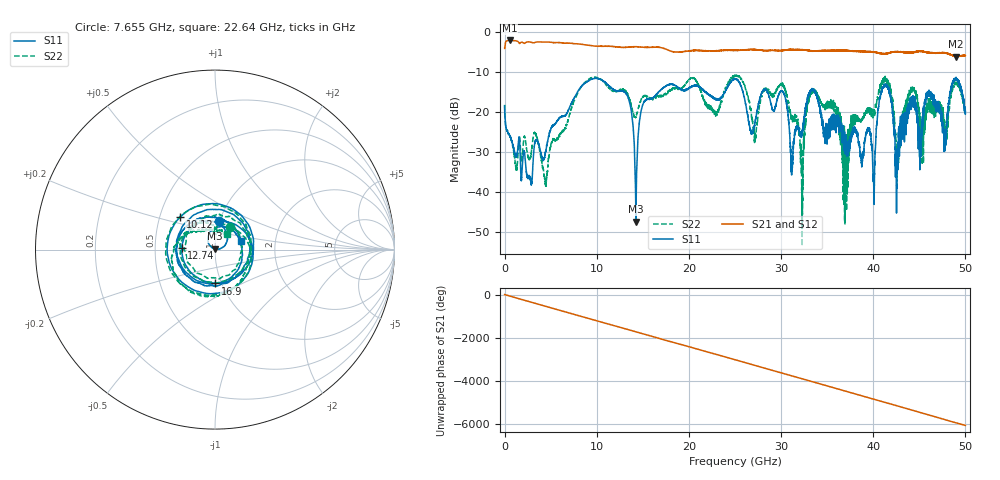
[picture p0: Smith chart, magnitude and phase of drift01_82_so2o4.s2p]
!Created with skrf (http://scikit-rf.org).
# Hz S RI R 50.0
!freq ReS11 ImS11 ReS21 ImS21 ReS12 ImS12 ReS22 ImS22
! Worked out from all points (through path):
!   10001 points, 300 kHz to 50 GHz, reference 50 ohm
!   highest |S21| = -2.00 dB at 540.3 MHz (marker M1); lowest = -6.0 dB at 48.98 GHz (marker M2)
!   group delay of S21, straight-line fit = 336 ps
!   lowest |S11| = -47.3 dB at 14.26 GHz (marker M3), VSWR 1.01, Z = 50 + j0.431 ohm
!   |S11| at or under -10 dB: start of sweep to end of sweep
!   |S22| runs from -53.4 to -10.6 dB; largest |S21 - S12| = 0.02
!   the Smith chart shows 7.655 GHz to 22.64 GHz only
!   S11 on the Smith chart (normalised r, x): 7.655 GHz: 0.99, +0.32; 10.12 GHz: 0.64, +0.25; 12.74 GHz: 0.69, +0.02; 16.9 GHz: 0.93, -0.37; 22.64 GHz: 1.33, +0.13
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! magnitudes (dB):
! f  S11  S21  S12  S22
! 300 kHz  -18.4  -4.0  -4.0  -18.1
! 540.3 MHz  -25.8  -2.0  -2.0  -25.8
! 4.445 GHz  -29.8  -2.4  -2.4  -37.8
! 7.655 GHz  -15.9  -2.8  -2.8  -16.5
! 8.335 GHz  -13.5  -3.0  -2.9  -13.5
! 10.12 GHz  -11.5  -3.4  -3.4  -11.4
! 12.74 GHz  -14.6  -3.7  -3.7  -14.3
! 14.26 GHz  -47.3  -3.6  -3.6  -21.1
! 16.67 GHz  -15.0  -3.7  -3.7  -15.9
! 16.9 GHz  -14.5  -3.8  -3.7  -16.1
! 22.64 GHz  -16.3  -4.6  -4.6  -19.3
! 25 GHz  -11.5  -4.5  -4.5  -10.9
! 27.18 GHz  -22.3  -4.3  -4.3  -26.2
! 30.25 GHz  -14.9  -4.5  -4.5  -13.4
! 32.28 GHz  -25.1  -4.3  -4.3  -53.4
! 33.34 GHz  -14.2  -4.6  -4.6  -14.7
! 36.99 GHz  -30.4  -4.6  -4.4  -31.9
! 40.05 GHz  -37.3  -4.9  -4.9  -19.6
! 41.67 GHz  -13.9  -5.0  -5.1  -13.7
! 42.61 GHz  -30.0  -4.8  -4.8  -31.6
! 48.98 GHz  -11.4  -6.0  -6.0  -12.5
! 50 GHz  -19.8  -5.8  -5.7  -19.3
